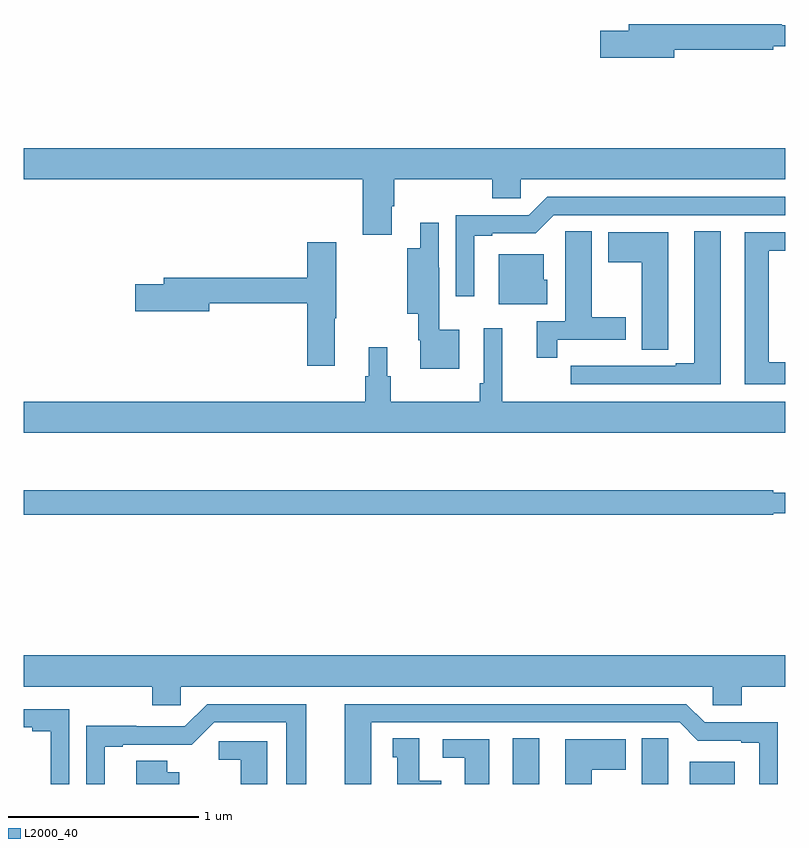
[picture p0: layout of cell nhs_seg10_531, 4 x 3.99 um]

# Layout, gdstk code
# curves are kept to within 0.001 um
import gdstk
lib = gdstk.Library(unit=1e-6, precision=1e-09)
def R(c, l, rs):  # rectangles x0, y0, x1, y1
    for r in rs: c.add(gdstk.rectangle(r[:2], r[2:], *l))
def P(c, l, *ps):  # polygons
    for p in ps: c.add(gdstk.Polygon(p, *l))
L2000_40 = (2000, 40)

nhs_seg10_531 = lib.new_cell('nhs_seg10_531')
R(nhs_seg10_531, L2000_40, [(139.568,1270.5,139.708,1270.739), (140.498,1270.5,140.734,1270.618)])
P(nhs_seg10_531, L2000_40, [(140.416,1274.356),(140.936,1274.356),(140.936,1274.375),(141,1274.375),(141,1274.485),(140.981,1274.485),(140.981,1274.492),(140.177,1274.492),(140.177,1274.456),(140.028,1274.456),(140.028,1274.314),(140.416,1274.314)],
  [(138.934,1273.534),(138.947,1273.534),(138.947,1273.676),(139.46,1273.676),(139.46,1273.578),(139.611,1273.578),(139.611,1273.676),(141,1273.676),(141,1273.84),(137,1273.84),(137,1273.676),(138.782,1273.676),(138.782,1273.386),(138.934,1273.386)],
  [(139.366,1273.38),(139.462,1273.38),(139.462,1273.392),(139.689,1273.392),(139.785,1273.488),(141,1273.488),(141,1273.584),(139.749,1273.584),(139.653,1273.488),(139.269,1273.488),(139.269,1273.062),(139.366,1273.062)],
  [(139.288,1272.886),(139.182,1272.886),(139.182,1273.211),(139.18,1273.211),(139.18,1273.447),(139.082,1273.447),(139.082,1273.315),(139.015,1273.315),(139.015,1272.971),(139.071,1272.971),(139.071,1272.83),(139.083,1272.83),(139.083,1272.68),(139.288,1272.68)],
  [(140.662,1273.403),(140.522,1273.403),(140.522,1272.711),(140.426,1272.711),(140.426,1272.696),(140.15,1272.696),(140.15,1272.697),(139.984,1272.697),(139.984,1272.696),(139.872,1272.696),(139.872,1272.6),(140.662,1272.6)],
  [(139.802,1272.834),(140.161,1272.834),(140.161,1272.951),(139.984,1272.951),(139.984,1273.403),(139.845,1273.403),(139.845,1273.292),(139.844,1273.292),(139.844,1272.93),(139.694,1272.93),(139.694,1272.738),(139.802,1272.738)],
  [(140.385,1272.889),(140.386,1272.889),(140.386,1273.399),(140.069,1273.399),(140.069,1273.24),(140.246,1273.24),(140.246,1272.781),(140.385,1272.781)],
  [(141,1272.716),(140.914,1272.716),(140.914,1273.302),(141,1273.302),(141,1273.398),(140.786,1273.398),(140.786,1272.6),(141,1272.6)],
  [(138.634,1272.947),(138.642,1272.947),(138.642,1273.345),(138.488,1273.345),(138.488,1273.16),(137.735,1273.16),(137.735,1273.124),(137.586,1273.124),(137.586,1272.982),(137.974,1272.982),(137.974,1273.024),(138.488,1273.024),(138.488,1272.696),(138.634,1272.696)],
  [(139.75,1273.149),(139.732,1273.149),(139.732,1273.282),(139.496,1273.282),(139.496,1273.019),(139.75,1273.019)],
  [(141,1272.508),(139.514,1272.508),(139.514,1272.895),(139.416,1272.895),(139.416,1272.604),(139.396,1272.604),(139.396,1272.508),(138.929,1272.508),(138.929,1272.642),(138.91,1272.642),(138.91,1272.793),(138.812,1272.793),(138.812,1272.642),(138.793,1272.642),(138.793,1272.508),(137,1272.508),(137,1272.344),(141,1272.344)],
  [(140.938,1271.922),(141,1271.922),(141,1272.03),(140.936,1272.03),(140.936,1272.043),(137,1272.043),(137,1271.914),(140.938,1271.914)],
  [(137.826,1271.012),(140.619,1271.012),(140.619,1270.914),(140.771,1270.914),(140.771,1271.012),(141,1271.012),(141,1271.176),(137,1271.176),(137,1271.012),(137.675,1271.012),(137.675,1270.914),(137.826,1270.914)],
  [(138.826,1270.824),(140.445,1270.824),(140.541,1270.728),(140.768,1270.728),(140.768,1270.716),(140.864,1270.716),(140.864,1270.5),(140.961,1270.5),(140.961,1270.824),(140.577,1270.824),(140.481,1270.92),(138.686,1270.92),(138.686,1270.5),(138.826,1270.5)],
  [(137.425,1270.695),(137.521,1270.695),(137.521,1270.707),(137.882,1270.706),(138,1270.824),(138.38,1270.824),(138.38,1270.5),(138.484,1270.5),(138.484,1270.92),(137.964,1270.92),(137.847,1270.803),(137.591,1270.803),(137.591,1270.805),(137.328,1270.805),(137.328,1270.5),(137.425,1270.5)],
  [(137.238,1270.893),(137,1270.893),(137,1270.797),(137.045,1270.797),(137.045,1270.777),(137.141,1270.777),(137.141,1270.5),(137.238,1270.5)],
  [(139.192,1270.516),(139.078,1270.516),(139.078,1270.739),(138.938,1270.739),(138.938,1270.641),(138.962,1270.641),(138.962,1270.5),(139.192,1270.5)],
  [(140.386,1270.628),(140.385,1270.628),(140.385,1270.739),(140.246,1270.739),(140.246,1270.5),(140.386,1270.5)],
  [(139.984,1270.576),(140.161,1270.576),(140.161,1270.735),(139.844,1270.735),(139.844,1270.5),(139.984,1270.5)],
  [(139.444,1270.734),(139.2,1270.734),(139.2,1270.638),(139.316,1270.638),(139.316,1270.5),(139.444,1270.5)],
  [(138.28,1270.725),(138.024,1270.725),(138.024,1270.628),(138.14,1270.628),(138.14,1270.5),(138.28,1270.5)],
  [(137.818,1270.561),(137.755,1270.561),(137.755,1270.622),(137.591,1270.622),(137.591,1270.5),(137.818,1270.5)])

lib.write_gds('nhs_seg10_531.gds')
